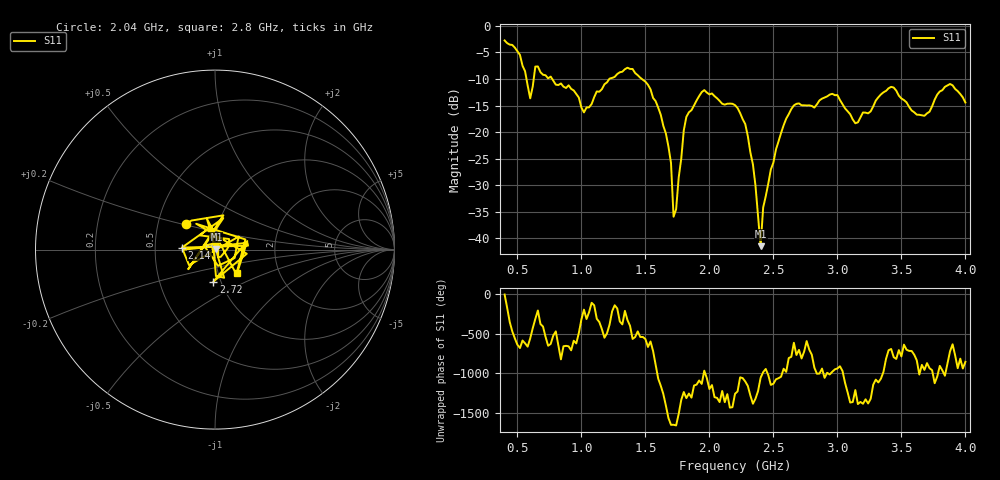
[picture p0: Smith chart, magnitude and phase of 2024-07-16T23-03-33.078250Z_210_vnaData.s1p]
!Created with skrf (http://scikit-rf.org).
# Hz S RI R 50.0
!freq ReS11 ImS11
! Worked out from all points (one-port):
!   181 points, 400 MHz to 4 GHz, reference 50 ohm
!   lowest |S11| = -41.5 dB at 2.4 GHz (marker M1), VSWR 1.02, Z = 50.8 + j0.33 ohm
!   |S11| at or under -10 dB: 570.9 MHz to 627.4 MHz (56.52 MHz wide, 9.43 % of centre); 771.6 MHz to 1.218 GHz (446.4 MHz wide, 44.9 % of centre); 1.473 GHz to end of sweep
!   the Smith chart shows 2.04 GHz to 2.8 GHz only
!   S11 on the Smith chart (normalised r, x): 2.04 GHz: 0.69, +0.21; 2.14 GHz: 0.69, +0.02; 2.72 GHz: 0.92, -0.34; 2.8 GHz: 1.23, -0.32
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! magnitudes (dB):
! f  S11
! 400 MHz  -2.7
! 520 MHz  -5.5
! 600 MHz  -13.6
! 640 MHz  -7.7
! 860 MHz  -11.4
! 1.02 GHz  -16.3
! 1.3 GHz  -8.7
! 1.6 GHz  -15.4
! 1.7 GHz  -25.8
! 1.72 GHz  -35.9
! 1.76 GHz  -28.6
! 1.82 GHz  -17.1
! 2.04 GHz  -13.2
! 2.14 GHz  -14.7
! 2.2 GHz  -14.9
! 2.3 GHz  -20.7
! 2.4 GHz  -41.5
! 2.42 GHz  -34.2
! 2.48 GHz  -27.0
! 2.66 GHz  -15.0
! 2.72 GHz  -15.0
! 2.8 GHz  -15.1
! 3.1 GHz  -16.6
! 3.42 GHz  -11.5
! 3.56 GHz  -15.2
! 3.68 GHz  -16.9
! 3.88 GHz  -10.9
! 4 GHz  -14.4
